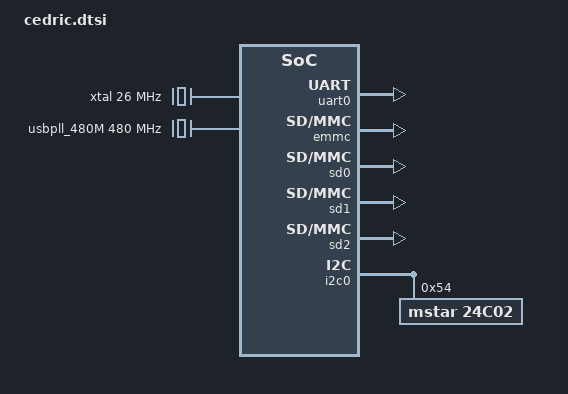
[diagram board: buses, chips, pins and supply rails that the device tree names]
/*
 * Copyright (c) 2014 MundoReader S.L.
 * Author: Matthias Brugger <matthias.bgg@gmail.com>
 *
 * This program is free software; you can redistribute it and/or modify
 * it under the terms of the GNU General Public License as published by
 * the Free Software Foundation; either version 2 of the License, or
 * (at your option) any later version.
 *
 * This program is distributed in the hope that it will be useful,
 * but WITHOUT ANY WARRANTY; without even the implied warranty of
 * MERCHANTABILITY or FITNESS FOR A PARTICULAR PURPOSE.  See the
 * GNU General Public License for more details.
 */

#include <../../../drivers/mstar/include/cedric/irqs.h>
#include "skeleton.dtsi"

/ {
    compatible = "mstar,cedric";
   
    cpus {
        #address-cells = <1>;
        #size-cells = <0>;

        cpu@0 {
            device_type = "cpu";
            compatible = "arm,cortex-a9";
            reg = <0x0>;
        };

    };
    
    xtal: oscillator {
		compatible = "fixed-clock";
		#clock-cells = <0>;
		clock-frequency = <26000000>;
	};
	
  	aliases {
    	console = &uart0;
    	serial0 = &uart0;
    	sdmmc0  = &sd0;
    	sdmmc1  = &sd1;
    	sdmmc2  = &sd2;
    	iic0    = &i2c0;
    	iic1    = &i2c1;    	
	}; 
    

   
    soc {
    
        compatible = "simple-bus";   
        interrupt-parent = <&intrctl>;
        #address-cells = <1>;
        #size-cells = <1>;
        ranges = <0 0 0xFFFFFFFF>;
        
        intrctl: interrupt-controller@0 {
            compatible = "mstar,intrctl-cedric";
            #interrupt-cells = <1>;
            interrupt-controller;
        };
        
        cpuclk: clk@1F221800 {
			compatible = "mstar,cedric-cpuclk";
			#clock-cells = <1>;
			reg = <0x1F221800 0x100>;
			clocks = <&xtal>;
		};
		

        timer_clocksource: timer@16000200 {
			compatible = "mstar,arm-gt-clocksource";
			reg = <0x16000200 0x100>;
			clocks = <&cpuclk 1>;
		};
        
        
        timer_clockevent: timer@1F006040 {
			compatible = "mstar,piu-clockevent";
			reg = <0x1F006040 0x100>;
			interrupts=<INT_FIQ_TIMER0>;
			clocks = <&xtal>;
		};
		
		uart0: uart@1F201300 {
			compatible = "mstar,uart";
			reg = <0x1F201300 0x100>;
			interrupts= <INT_IRQ_UART0>;
            clocks = <&uart0clk>;
            tolerance = <2>;
			status = "ok";
		};
		
		emmc:emmc0{
            compatible = "mstar,emmc-cedric";
//            reg = <0x1F201300 0x100>;
            interrupts=<INT_IRQ_FCIE>;
        };
		
		sd0: sd@0 {
            compatible = "mstar,sdmmc-cedric";
//            reg = <0x1F201300 0x100>;
            interrupts=<INT_IRQ_SDIO2RIU>,<INT_PMU_SD_DETECT0>;
        };
        
        sd1: sd@1 {
            compatible = "mstar,sdmmc-cedric";
//           reg = <0x1F201300 0x100>;
            interrupts=<INT_IRQ_SDIO2_2RIU>,<INT_PMU_SD_DETECT1>;
        };
        
        sd2: sd@2 {
            compatible = "mstar,sdmmc-cedric";
//            reg = <0x1F201300 0x100>;
            interrupts=<INT_IRQ_SDIO1_2RIU>,<INT_PMU_SD_DETECT2>;
        };
        
				sound {
            compatible = "mstar,bach-audio";
//					reg = <0x1F000000 0x1000000>;
            interrupts=<INT_IRQ_AU_SYSTEM>;
            playback-volume-level=<64>;	//0~76
            capture-volume-level=<64>;
            micin-gain-level=<0>;	//0~5
            linein-gain-level=<1>;//0~6
            lineout-gain-level=<1>;//0~2
				};

        mpll_442M: mpll_442M {
            #clock-cells = <0>;
            compatible = "fixed-factor-clock";
            clocks = <&xtal>;
            clock-mult = <34>;
            clock-div = <2>;
        };

        mpll_221M: mpll_221M {
            #clock-cells = <0>;
            compatible = "fixed-factor-clock";
            clocks = <&xtal>;
            clock-mult = <34>;
            clock-div = <4>;
        };

        mpll_176M: mpll_176M {
            #clock-cells = <0>;
            compatible = "fixed-factor-clock";
            clocks = <&xtal>;
            clock-mult = <34>;
            clock-div = <5>;
        };

        mpll_147M: mpll_147M {
            #clock-cells = <0>;
            compatible = "fixed-factor-clock";
            clocks = <&xtal>;
            clock-mult = <34>;
            clock-div = <6>;
        };            

        mpll_126M: mpll_126M {
            #clock-cells = <0>;
            compatible = "fixed-factor-clock";
            clocks = <&xtal>;
            clock-mult = <34>;
            clock-div = <7>;
        };

        mpll_110M: mpll_110M {
            #clock-cells = <0>;
            compatible = "fixed-factor-clock";
            clocks = <&xtal>;
            clock-mult = <34>;
            clock-div = <8>;
        };

        usbpll_480M: usbpll_480M {
            compatible = "fixed-clock";
            #clock-cells = <0>;
            clock-frequency = <480000000>;
        };

        usbpll_160M: usbpll_160M {
            #clock-cells = <0>;
            compatible = "fixed-factor-clock";
            clocks = <&usbpll_480M>;
            clock-mult = <1>;
            clock-div = <3>;
        };

        uart0clk: uart0clk {
            #clock-cells = <0>;
            compatible = "mstar,cedric-uartclk";
            clocks = <&mpll_176M>, <&usbpll_160M>, <&mpll_147M>, <&mpll_126M>, <&mpll_110M>;
            reg = <0x1F20164C 0x4>;
            mux-shift = <10>;
            mux-width = <3>;
            gate-shift = <8>;                
        };
 
		mfe: mfe {
			compatible = "mstar,mfe";
			reg = <0x1F206600 0x100>,<0x1F222000 0x200>;
		};

        isp: isp {
            compatible = "isp";
            banks = <0x1F2A0C00>,<0x1F2A0E00>,<0x1F2A1000>,<0x1F2A1200>,<0x1F2A1400 >,<0x1F2A1600 >,<0x1F2A1800 >,<0x1F2A1A00 >;
            interrupts=<INT_IRQ_ISP>; 
        };
        ir:ir0{
            compatible = "mstar,ir";
            reg = <0x1F007A00 0x100>;
            interrupts=<INT_FIQ_IR_IN>,<INT_FIQ_IR_RC>;
        }; 
        
      	clks: clocks{
        	#address-cells = <1>;
			#size-cells = <1>;
        };       
                
        i2c0: i2c@0{
            compatible = "mstar,i2c";
            reg = <0x1F223000 0x200>,<0x1F203400 0x200>;
		        #address-cells = <1>;
		        #size-cells = <0>;            
            i2c-group = <0>;
            i2c-speed = <2>;//0~6  
            
            24c02@54 {
            compatible = "mstar,24c02";
            reg = <0x54>;
            };
		    }; 
		    
        i2c1: i2c@1{
            compatible = "mstar,i2c";
            reg = <0x1F223200 0x200>,<0x1F203c00 0x200>;
		        #address-cells = <1>;
		        #size-cells = <0>;             
            i2c-group = <1>;
            i2c-speed = <2>;//0~6
            status = "disable";        
		    }; 
		    	     
        
        gpio:gpio{
            compatible = "mstar,gpio";
            reg = <0x1F207800 0x200>,<0x1F203C00 0x200>;
            gpio-num = <183>;
        };      
        
    };
};


/include/ "cedric-clks.dtsi"
